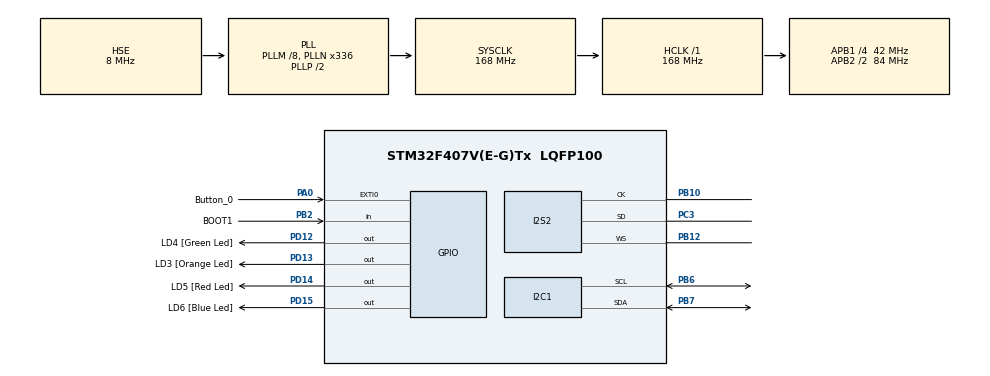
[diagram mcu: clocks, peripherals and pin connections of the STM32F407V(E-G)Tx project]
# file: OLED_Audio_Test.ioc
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Dma.Request0=SPI2_RX
Dma.SPI2_RX.0.Direction=DMA_PERIPH_TO_MEMORY
Dma.SPI2_RX.0.FIFOMode=DMA_FIFOMODE_DISABLE
Dma.SPI2_RX.0.Instance=DMA1_Stream3
Dma.SPI2_RX.0.MemDataAlignment=DMA_MDATAALIGN_HALFWORD
Dma.SPI2_RX.0.MemInc=DMA_MINC_ENABLE
Dma.SPI2_RX.0.Mode=DMA_CIRCULAR
Dma.SPI2_RX.0.PeriphDataAlignment=DMA_PDATAALIGN_HALFWORD
Dma.SPI2_RX.0.PeriphInc=DMA_PINC_DISABLE
Dma.SPI2_RX.0.Priority=DMA_PRIORITY_LOW
I2C1.I2C_Mode=I2C_Fast
I2S2.AudioFreq=I2S_AUDIOFREQ_48K
I2S2.DataFormat=I2S_DATAFORMAT_16B_EXTENDED
I2S2.ErrorAudioFreq=-0.79 %
I2S2.FullDuplexMode=I2S_FULLDUPLEXMODE_DISABLE
I2S2.Instance=SPI$Index
I2S2.Mode=I2S_MODE_MASTER_RX
I2S2.RealAudioFreq=47.619 KHz
I2S2.Standard=I2S_STANDARD_MSB
I2S2.VirtualMode=I2S_MODE_MASTER
Mcu.Family=STM32F4
Mcu.Name=STM32F407V(E-G)Tx
Mcu.Package=LQFP100
NVIC.DMA1_Stream3_IRQn=true\:0\:0\:false\:false\:true\:false\:true\:true
NVIC.PriorityGroup=NVIC_PRIORITYGROUP_0
PA0-WKUP.GPIO_Label=Button_0
PA0-WKUP.GPIO_ModeDefaultEXTI=GPIO_MODE_IT_RISING
PA0-WKUP.GPIO_PuPd=GPIO_NOPULL
PA0-WKUP.Signal=GPXTI0
PB10.Mode=Half_Duplex_Master
PB10.Signal=I2S2_CK
PB12.Mode=Half_Duplex_Master
PB12.Signal=I2S2_WS
PB2.GPIO_Label=BOOT1
PB2.GPIO_Mode=GPIO_MODE_INPUT
PB2.GPIO_PuPd=GPIO_NOPULL
PB2.Signal=GPIO_Input
PB6.Mode=I2C
PB6.Signal=I2C1_SCL
PB7.Mode=I2C
PB7.Signal=I2C1_SDA
PC14-OSC32_IN.GPIO_Label=PC14-OSC32_IN
PC14-OSC32_IN.Mode=LSE-External-Oscillator
PC14-OSC32_IN.Signal=RCC_OSC32_IN
PC15-OSC32_OUT.GPIO_Label=PC15-OSC32_OUT
PC15-OSC32_OUT.Mode=LSE-External-Oscillator
PC15-OSC32_OUT.Signal=RCC_OSC32_OUT
PC3.Mode=Half_Duplex_Master
PC3.Signal=I2S2_SD
PD12.GPIO_Label=LD4 [Green Led]
PD12.GPIO_PuPd=GPIO_NOPULL
PD12.GPIO_Speed=GPIO_SPEED_FREQ_LOW
PD12.Signal=GPIO_Output
PD13.GPIO_Label=LD3 [Orange Led]
PD13.GPIO_PuPd=GPIO_NOPULL
PD13.GPIO_Speed=GPIO_SPEED_FREQ_LOW
PD13.Signal=GPIO_Output
PD14.GPIO_Label=LD5 [Red Led]
PD14.GPIO_PuPd=GPIO_NOPULL
PD14.GPIO_Speed=GPIO_SPEED_FREQ_LOW
PD14.Signal=GPIO_Output
PD15.GPIO_Label=LD6 [Blue Led]
PD15.GPIO_PuPd=GPIO_NOPULL
PD15.GPIO_Speed=GPIO_SPEED_FREQ_LOW
PD15.Signal=GPIO_Output
PDM2PCM.CHANNEL1_bit_order=PDM_FILTER_BIT_ORDER_MSB
PDM2PCM.CHANNEL1_decimation_factor=PDM_FILTER_DEC_FACTOR_16
PDM2PCM.CHANNEL1_in_ptr_channels=1
PDM2PCM.CHANNEL1_mic_gain=0
PDM2PCM.CHANNEL1_out_ptr_channels=1
PDM2PCM.CHANNEL1_output_samples_number=64
PH0-OSC_IN.GPIO_Label=PH0-OSC_IN
PH0-OSC_IN.Mode=HSE-External-Oscillator
PH0-OSC_IN.Signal=RCC_OSC_IN
PH1-OSC_OUT.GPIO_Label=PH1-OSC_OUT
PH1-OSC_OUT.Mode=HSE-External-Oscillator
PH1-OSC_OUT.Signal=RCC_OSC_OUT
ProjectManager.HeapSize=0x200
ProjectManager.StackSize=0x400
ProjectManager.TargetToolchain=STM32CubeIDE
RCC.48MHZClocksFreq_Value=48000000
RCC.AHBFreq_Value=168000000
RCC.APB1CLKDivider=RCC_HCLK_DIV4
RCC.APB1Freq_Value=42000000
RCC.APB1TimFreq_Value=84000000
RCC.APB2CLKDivider=RCC_HCLK_DIV2
RCC.APB2Freq_Value=84000000
RCC.APB2TimFreq_Value=168000000
RCC.CortexFreq_Value=168000000
RCC.HCLKFreq_Value=168000000
RCC.HSE_VALUE=8000000
RCC.HSI_VALUE=16000000
RCC.PLLI2SN=384
RCC.PLLM=8
RCC.PLLN=336
RCC.PLLQ=7
RCC.PLLSourceVirtual=RCC_PLLSOURCE_HSE
RCC.SYSCLKFreq_VALUE=168000000
RCC.SYSCLKSource=RCC_SYSCLKSOURCE_PLLCLK
RCC.VCOOutputFreq_Value=336000000
VP_CRC_VS_CRC.Mode=CRC_Activate
VP_PDM2PCM_VS_PDM2PCM.Mode=PDM2PCM_Channel
board=STM32F407G-DISC1

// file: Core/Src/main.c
/* USER CODE BEGIN Header */
/**
  ******************************************************************************
  * @file           : main.c
  * @brief          : Main program body
  ******************************************************************************
  * @attention
  *
  * Copyright (c) 2023 STMicroelectronics.
  * All rights reserved.
  *
  * This software is licensed under terms that can be found in the LICENSE file
  * in the root directory of this software component.
  * If no LICENSE file comes with this software, it is provided AS-IS.
  *
  ******************************************************************************
  */
/* USER CODE END Header */
#include "main.h"
#include "pdm2pcm.h"

/* USER CODE BEGIN Includes */
#include "stdint.h"

#include "fonts.h"
#include "ssd1306.h"
/* USER CODE END Includes */

/* USER CODE BEGIN PD */
#define SCREEN_WIDTH 128
#define SCREEN_HEIGHT 64

#define BUFFER_SIZE 64
#define DATA_SIZE 32

/*
#define DATA_SIZE 64
#define FRAME_SIZE 32
#define BLOCK_SIZE 16
*/

/* USER CODE END PD */

CRC_HandleTypeDef hcrc;

I2C_HandleTypeDef hi2c1;

I2S_HandleTypeDef hi2s2;
DMA_HandleTypeDef hdma_spi2_rx;

/* USER CODE BEGIN PV */
uint16_t gI2SData [BUFFER_SIZE] = {0}; //raw data received from I2S
uint16_t gPdmBuffer [DATA_SIZE] = {0};
int32_t gPcmBuffer [DATA_SIZE] = {0};
int32_t gDispBuffer [SCREEN_WIDTH] = {0};

uint8_t gDataFlag = 0;

/* USER CODE END PV */

void SystemClock_Config(void);
static void MX_GPIO_Init(void);
static void MX_DMA_Init(void);
static void MX_I2C1_Init(void);
static void MX_CRC_Init(void);
static void MX_I2S2_Init(void);

int main(void)
{
  /* USER CODE BEGIN 1 */
  uint8_t procFlag = 0;

  uint8_t pcmOutOffset = 0;
  /* USER CODE END 1 */

  /* MCU Configuration--------------------------------------------------------*/

  /* Reset of all peripherals, Initializes the Flash interface and the Systick. */
  HAL_Init();

  /* Configure the system clock */
  SystemClock_Config();

  /* Initialize all configured peripherals */
  MX_GPIO_Init();
  MX_DMA_Init();
  MX_I2C1_Init();
  MX_CRC_Init();
  MX_I2S2_Init();
  MX_PDM2PCM_Init();
  /* USER CODE BEGIN 2 */

  //Receive Init
  HAL_I2S_Receive_DMA (&hi2s2, gI2SData, BUFFER_SIZE);

  //Screen Init
  if (ssd1306_Init (&hi2c1) != 0) { //Setup Screen
	Error_Handler ();
  }

  HAL_Delay (500);
  ssd1306_Fill (Black);
  ssd1306_SetCursor (SCREEN_WIDTH/2 - (11 * 2.5), SCREEN_HEIGHT/2 - 18);
  ssd1306_WriteString ("Hello", Font_11x18, White);
  ssd1306_UpdateScreen (&hi2c1);
  HAL_Delay (500);

  /* USER CODE END 2 */

  /* Infinite loop */
  /* USER CODE BEGIN WHILE */
  while (1)
  {
	if (gDataFlag)
	{
	  uint8_t offset = (gDataFlag - 1) * DATA_SIZE;
	  for (int i = 0; i < DATA_SIZE; i++)
	  {
	  	gPdmBuffer[i] = gI2SData [i + offset]; //take snapshot of data
	  }
	  gDataFlag = 0;
	  procFlag = 1;
	}

	if (procFlag)
	{
      PDM_Filter (gPdmBuffer, gPcmBuffer, &PDM1_filter_handler);

      for (int i = 0; i < SCREEN_WIDTH - DATA_SIZE; i++)
      {
        gDispBuffer[i] = gDispBuffer[i + DATA_SIZE]; //Shift buffer
      }

      for (int i = 0; i < DATA_SIZE ; i++)
      {
        gDispBuffer[i + SCREEN_WIDTH - DATA_SIZE] = gPcmBuffer [i];  //Write to end of buffer
      }

      ssd1306_Fill (Black);
      for (int i = 0; i < SCREEN_WIDTH; i++)
      {
        double scaled = (1.0 * gDispBuffer [i] ) / (1.0 * INT32_MAX); //Scale data between -1 -> 1
        int y = scaled * (SCREEN_HEIGHT / 2.0); //Scale data to screen
        y += (SCREEN_HEIGHT / 2.0); //center y axis

        //Bound y to screen
        y = y > SCREEN_HEIGHT ? SCREEN_HEIGHT : y;
        y = y < 0 ? 0 : y;

        ssd1306_DrawPixel (i, y, White);
      }
      ssd1306_UpdateScreen (&hi2c1);

      pcmOutOffset += DATA_SIZE;
      pcmOutOffset = pcmOutOffset == 2 * DATA_SIZE ? 0 : pcmOutOffset;
	  procFlag = 0;
	}

    /* USER CODE END WHILE */

  }
}

void SystemClock_Config(void)
{
  RCC_OscInitTypeDef RCC_OscInitStruct = {0};
  RCC_ClkInitTypeDef RCC_ClkInitStruct = {0};

  /** Configure the main internal regulator output voltage
  */
  __HAL_RCC_PWR_CLK_ENABLE();
  __HAL_PWR_VOLTAGESCALING_CONFIG(PWR_REGULATOR_VOLTAGE_SCALE1);

  /** Initializes the RCC Oscillators according to the specified parameters
  * in the RCC_OscInitTypeDef structure.
  */
  RCC_OscInitStruct.OscillatorType = RCC_OSCILLATORTYPE_HSE;
  RCC_OscInitStruct.HSEState = RCC_HSE_ON;
  RCC_OscInitStruct.PLL.PLLState = RCC_PLL_ON;
  RCC_OscInitStruct.PLL.PLLSource = RCC_PLLSOURCE_HSE;
  RCC_OscInitStruct.PLL.PLLM = 8;
  RCC_OscInitStruct.PLL.PLLN = 336;
  RCC_OscInitStruct.PLL.PLLP = RCC_PLLP_DIV2;
  RCC_OscInitStruct.PLL.PLLQ = 7;
  if (HAL_RCC_OscConfig(&RCC_OscInitStruct) != HAL_OK)
  {
    Error_Handler();
  }

  /** Initializes the CPU, AHB and APB buses clocks
  */
  RCC_ClkInitStruct.ClockType = RCC_CLOCKTYPE_HCLK|RCC_CLOCKTYPE_SYSCLK
                              |RCC_CLOCKTYPE_PCLK1|RCC_CLOCKTYPE_PCLK2;
  RCC_ClkInitStruct.SYSCLKSource = RCC_SYSCLKSOURCE_PLLCLK;
  RCC_ClkInitStruct.AHBCLKDivider = RCC_SYSCLK_DIV1;
  RCC_ClkInitStruct.APB1CLKDivider = RCC_HCLK_DIV4;
  RCC_ClkInitStruct.APB2CLKDivider = RCC_HCLK_DIV2;

  if (HAL_RCC_ClockConfig(&RCC_ClkInitStruct, FLASH_LATENCY_5) != HAL_OK)
  {
    Error_Handler();
  }
}

static void MX_CRC_Init(void)
{

  hcrc.Instance = CRC;
  if (HAL_CRC_Init(&hcrc) != HAL_OK)
  {
    Error_Handler();
  }
  __HAL_CRC_DR_RESET(&hcrc);

}

static void MX_I2C1_Init(void)
{

  hi2c1.Instance = I2C1;
  hi2c1.Init.ClockSpeed = 400000;
  hi2c1.Init.DutyCycle = I2C_DUTYCYCLE_2;
  hi2c1.Init.OwnAddress1 = 0;
  hi2c1.Init.AddressingMode = I2C_ADDRESSINGMODE_7BIT;
  hi2c1.Init.DualAddressMode = I2C_DUALADDRESS_DISABLE;
  hi2c1.Init.OwnAddress2 = 0;
  hi2c1.Init.GeneralCallMode = I2C_GENERALCALL_DISABLE;
  hi2c1.Init.NoStretchMode = I2C_NOSTRETCH_DISABLE;
  if (HAL_I2C_Init(&hi2c1) != HAL_OK)
  {
    Error_Handler();
  }

}

static void MX_I2S2_Init(void)
{

  hi2s2.Instance = SPI2;
  hi2s2.Init.Mode = I2S_MODE_MASTER_RX;
  hi2s2.Init.Standard = I2S_STANDARD_MSB;
  hi2s2.Init.DataFormat = I2S_DATAFORMAT_16B_EXTENDED;
  hi2s2.Init.MCLKOutput = I2S_MCLKOUTPUT_DISABLE;
  hi2s2.Init.AudioFreq = I2S_AUDIOFREQ_48K;
  hi2s2.Init.CPOL = I2S_CPOL_LOW;
  hi2s2.Init.ClockSource = I2S_CLOCK_PLL;
  hi2s2.Init.FullDuplexMode = I2S_FULLDUPLEXMODE_DISABLE;
  if (HAL_I2S_Init(&hi2s2) != HAL_OK)
  {
    Error_Handler();
  }

}

static void MX_DMA_Init(void)
{

  /* DMA controller clock enable */
  __HAL_RCC_DMA1_CLK_ENABLE();

  /* DMA interrupt init */
  /* DMA1_Stream3_IRQn interrupt configuration */
  HAL_NVIC_SetPriority(DMA1_Stream3_IRQn, 0, 0);
  HAL_NVIC_EnableIRQ(DMA1_Stream3_IRQn);

}

static void MX_GPIO_Init(void)
{
  GPIO_InitTypeDef GPIO_InitStruct = {0};

  /* GPIO Ports Clock Enable */
  __HAL_RCC_GPIOC_CLK_ENABLE();
  __HAL_RCC_GPIOH_CLK_ENABLE();
  __HAL_RCC_GPIOA_CLK_ENABLE();
  __HAL_RCC_GPIOB_CLK_ENABLE();
  __HAL_RCC_GPIOD_CLK_ENABLE();

  /*Configure GPIO pin Output Level */
  HAL_GPIO_WritePin(GPIOD, LD4_Pin|LD3_Pin|LD5_Pin|LD6_Pin, GPIO_PIN_RESET);

  /*Configure GPIO pin : Button_0_Pin */
  GPIO_InitStruct.Pin = Button_0_Pin;
  GPIO_InitStruct.Mode = GPIO_MODE_IT_RISING;
  GPIO_InitStruct.Pull = GPIO_NOPULL;
  HAL_GPIO_Init(Button_0_GPIO_Port, &GPIO_InitStruct);

  /*Configure GPIO pin : BOOT1_Pin */
  GPIO_InitStruct.Pin = BOOT1_Pin;
  GPIO_InitStruct.Mode = GPIO_MODE_INPUT;
  GPIO_InitStruct.Pull = GPIO_NOPULL;
  HAL_GPIO_Init(BOOT1_GPIO_Port, &GPIO_InitStruct);

  /*Configure GPIO pins : LD4_Pin LD3_Pin LD5_Pin LD6_Pin */
  GPIO_InitStruct.Pin = LD4_Pin|LD3_Pin|LD5_Pin|LD6_Pin;
  GPIO_InitStruct.Mode = GPIO_MODE_OUTPUT_PP;
  GPIO_InitStruct.Pull = GPIO_NOPULL;
  GPIO_InitStruct.Speed = GPIO_SPEED_FREQ_LOW;
  HAL_GPIO_Init(GPIOD, &GPIO_InitStruct);

}

/* USER CODE BEGIN 4 */
void HAL_I2S_RxHalfCpltCallback (I2S_HandleTypeDef *hi2s) {
	gDataFlag = 1;
}

void HAL_I2S_RxCpltCallback (I2S_HandleTypeDef *hi2s) {
	gDataFlag = 2;
}
/* USER CODE END 4 */

void Error_Handler(void)
{
  __disable_irq();
  while (1)
  {
  }
}
